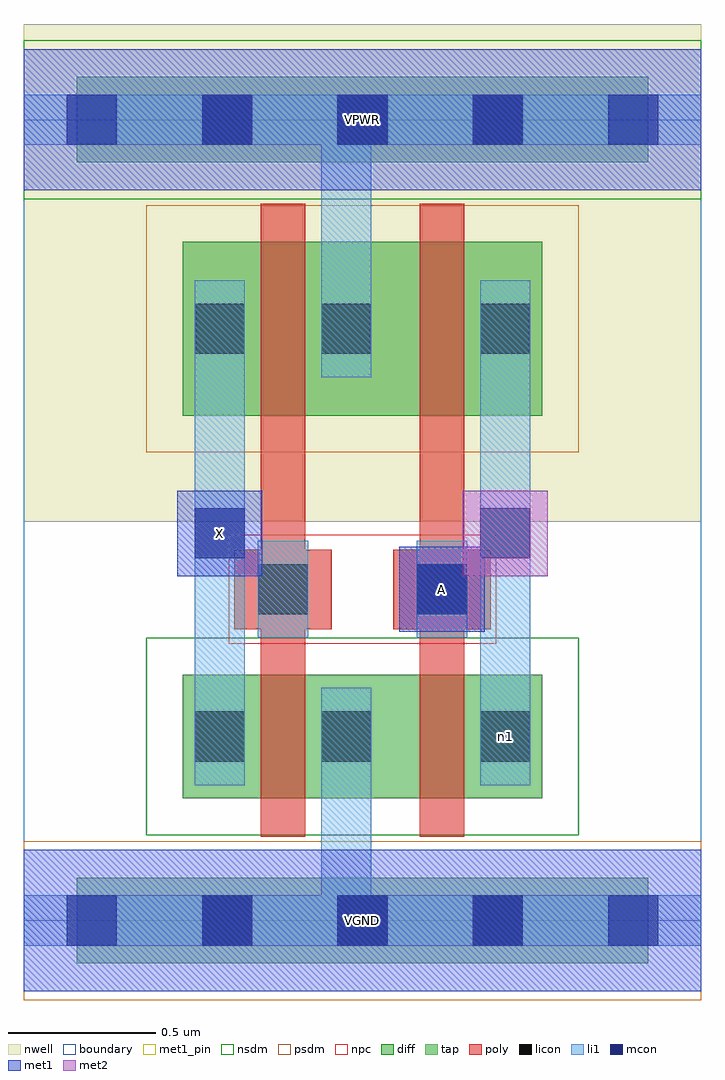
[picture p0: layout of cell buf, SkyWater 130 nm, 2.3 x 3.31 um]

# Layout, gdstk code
import gdstk
lib = gdstk.Library(unit=1e-6, precision=1e-09)
def R(c, l, rs):  # rectangles x0, y0, x1, y1
    for r in rs: c.add(gdstk.rectangle(r[:2], r[2:], *l))
def A(c, l, x, y, w, h, nx, ny, dx, dy):  # array of equal rectangles
    R(c, l, [(x+i*dx, y+j*dy, x+i*dx+w, y+j*dy+h) for i in range(nx) for j in range(ny)])
nwell = (64, 20)
diff = (65, 20)
tap = (65, 44)
poly = (66, 20)
licon = (66, 44)
li1 = (67, 20)
mcon = (67, 44)
met1_pin = (68, 16)
met1 = (68, 20)
met2 = (69, 20)
nsdm = (93, 44)
psdm = (94, 20)
npc = (95, 20)
boundary = (235, 4)

buf = lib.new_cell('buf')
R(buf, nwell, [(0,1.355,2.3,3.045)])
R(buf, diff, [(0.54,0.415,1.76,0.835), (0.54,1.715,1.76,2.305)])
R(buf, tap, [(0.18,-0.145,2.12,0.145), (0.18,2.575,2.12,2.865)])
R(buf, poly, [(0.805,0.285,0.955,2.435), (1.345,0.285,1.495,2.435), (0.715,0.99,1.045,1.26), (1.255,0.99,1.585,1.26)])
A(buf, licon, 0.605, -0.085, 0.17, 0.17, 3, 2, 0.46, 2.72)
R(buf, licon, [(0.58,0.54,0.75,0.71), (1.01,0.54,1.18,0.71), (1.55,0.54,1.72,0.71), (0.795,1.04,0.965,1.21), (1.335,1.04,1.505,1.21), (0.58,1.925,0.75,2.095), (1.01,1.925,1.18,2.095), (1.55,1.925,1.72,2.095)])
R(buf, li1, [(0,-0.085,2.3,0.085), (1.01,-0.085,1.18,0.79), (0.58,0.46,0.75,0.79), (0.58,0.46,0.75,2.175), (1.01,0.46,1.18,0.79), (1.55,0.46,1.72,0.79), (1.55,0.46,1.72,2.175), (0.795,0.96,0.965,1.29), (1.335,0.96,1.505,1.29), (1.335,0.96,1.505,1.29), (0.58,1.845,0.75,2.175), (1.01,1.845,1.18,2.175), (1.01,1.845,1.18,2.805), (1.55,1.845,1.72,2.175), (0,2.635,2.3,2.805)])
A(buf, mcon, 0.145, -0.085, 0.17, 0.17, 5, 2, 0.46, 2.72)
R(buf, mcon, [(1.335,1.04,1.505,1.21), (0.58,1.23,0.75,1.4), (1.55,1.23,1.72,1.4)])
R(buf, met1_pin, [(0,-0.24,2.3,0.24), (1.275,0.98,1.565,1.27), (0.52,1.17,0.81,1.46), (0,2.48,2.3,2.96)])
R(buf, met1, [(0,-0.24,2.3,0.24), (1.275,0.98,1.565,1.27), (0.52,1.17,0.81,1.46), (0,2.48,2.3,2.96)])
R(buf, met2, [(1.49,1.17,1.78,1.46)])
R(buf, nsdm, [(0.415,0.29,1.885,0.96), (0,2.45,2.3,2.99)])
R(buf, psdm, [(0,-0.27,2.3,0.27), (0.415,1.59,1.885,2.43)])
R(buf, npc, [(0.695,0.94,1.605,1.31)])
R(buf, boundary, [(0,0,2.3,2.72)])
buf.add(gdstk.Label('n1', (1.635,0.625), layer=67, texttype=5))
buf.add(gdstk.Label('X', (0.665,1.315), layer=68, texttype=5))
buf.add(gdstk.Label('A', (1.42,1.125), layer=68, texttype=5))
buf.add(gdstk.Label('VPWR', (1.15,2.72), layer=68, texttype=5))
buf.add(gdstk.Label('VGND', (1.15,0), layer=68, texttype=5))
buf.add(gdstk.Label('X', (0.665,1.315), layer=68, texttype=16))
buf.add(gdstk.Label('A', (1.42,1.125), layer=68, texttype=16))
buf.add(gdstk.Label('VPWR', (1.15,2.72), layer=68, texttype=16))
buf.add(gdstk.Label('VGND', (1.15,0), layer=68, texttype=16))

lib.write_gds('buf.gds')
